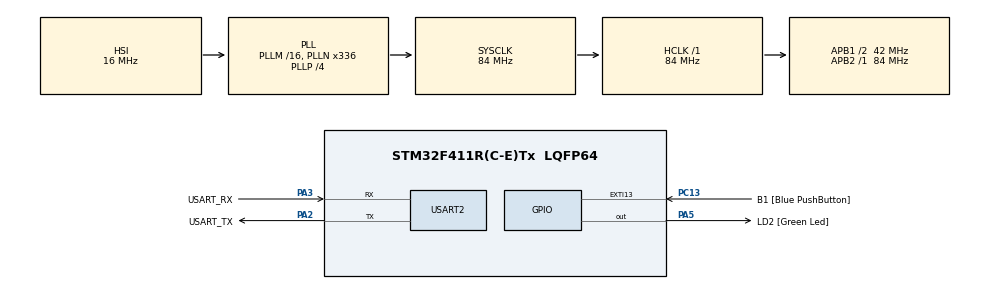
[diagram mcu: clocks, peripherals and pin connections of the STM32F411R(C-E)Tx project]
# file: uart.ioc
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Mcu.Family=STM32F4
Mcu.Name=STM32F411R(C-E)Tx
Mcu.Package=LQFP64
NVIC.PriorityGroup=NVIC_PRIORITYGROUP_0
NVIC.USART2_IRQn=true\:0\:0\:false\:false\:true\:true\:true\:true
PA13.GPIO_Label=TMS
PA13.Mode=Serial_Wire
PA13.Signal=SYS_JTMS-SWDIO
PA14.GPIO_Label=TCK
PA14.Mode=Serial_Wire
PA14.Signal=SYS_JTCK-SWCLK
PA2.GPIO_Label=USART_TX
PA2.Mode=Asynchronous
PA2.Signal=USART2_TX
PA3.GPIO_Label=USART_RX
PA3.Mode=Asynchronous
PA3.Signal=USART2_RX
PA5.GPIO_Label=LD2 [Green Led]
PA5.Signal=GPIO_Output
PB3.GPIO_Label=SWO
PB3.Signal=SYS_JTDO-SWO
PC13-ANTI_TAMP.GPIO_Label=B1 [Blue PushButton]
PC13-ANTI_TAMP.GPIO_ModeDefaultEXTI=GPIO_MODE_IT_FALLING
PC13-ANTI_TAMP.Signal=GPXTI13
PC14-OSC32_IN.Mode=LSE-External-Oscillator
PC14-OSC32_IN.Signal=RCC_OSC32_IN
PC15-OSC32_OUT.Mode=LSE-External-Oscillator
PC15-OSC32_OUT.Signal=RCC_OSC32_OUT
PH0\ -\ OSC_IN.Mode=HSE-External-Clock-Source
PH0\ -\ OSC_IN.Signal=RCC_OSC_IN
PH1\ -\ OSC_OUT.Mode=HSE-External-Clock-Source
PH1\ -\ OSC_OUT.Signal=RCC_OSC_OUT
ProjectManager.HeapSize=0x200
ProjectManager.StackSize=0x400
ProjectManager.TargetToolchain=STM32CubeIDE
RCC.48MHZClocksFreq_Value=84000000
RCC.AHBFreq_Value=84000000
RCC.APB1CLKDivider=RCC_HCLK_DIV2
RCC.APB1Freq_Value=42000000
RCC.APB1TimFreq_Value=84000000
RCC.APB2Freq_Value=84000000
RCC.APB2TimFreq_Value=84000000
RCC.CortexFreq_Value=84000000
RCC.FLatency-AdvancedSettings=FLASH_LATENCY_2
RCC.HCLKFreq_Value=84000000
RCC.HSE_VALUE=8000000
RCC.HSI_VALUE=16000000
RCC.PLLN=336
RCC.PLLP=RCC_PLLP_DIV4
RCC.SYSCLKFreq_VALUE=84000000
RCC.SYSCLKSource=RCC_SYSCLKSOURCE_PLLCLK
RCC.VCOOutputFreq_Value=336000000
USART2.VirtualMode=VM_ASYNC
board=NUCLEO-F411RE

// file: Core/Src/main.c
/* USER CODE BEGIN Header */
/**
  ******************************************************************************
  * @file           : main.c
  * @brief          : Main program body
  ******************************************************************************
  * @attention
  *
  * Copyright (c) 2024 STMicroelectronics.
  * All rights reserved.
  *
  * This software is licensed under terms that can be found in the LICENSE file
  * in the root directory of this software component.
  * If no LICENSE file comes with this software, it is provided AS-IS.
  *
  ******************************************************************************
  */
/* USER CODE END Header */
#include "main.h"

/* USER CODE BEGIN Includes */
#include <stdio.h>
#include <math.h>
/* USER CODE END Includes */

UART_HandleTypeDef huart2;

void SystemClock_Config(void);
static void MX_GPIO_Init(void);
static void MX_USART2_UART_Init(void);

/* USER CODE BEGIN 0 */
int _write(int file, char *p, int len){
	HAL_UART_Transmit(&huart2, p, len, 10);
	return len;
}
/* USER CODE END 0 */

int main(void)
{

  /* MCU Configuration--------------------------------------------------------*/

  /* Reset of all peripherals, Initializes the Flash interface and the Systick. */
  HAL_Init();

  /* Configure the system clock */
  SystemClock_Config();

  /* Initialize all configured peripherals */
  MX_GPIO_Init();
  MX_USART2_UART_Init();

  /* Infinite loop */
  /* USER CODE BEGIN WHILE */
  while (1)
  {
  	static int angle = 0;
  	angle += 1;
  	angle %= 360;
  	int16_t xValue = cos(angle * 3.14 / 180) * 32767;
  	int16_t yValue = sin(angle * 3.14 / 180) * 32767;

  	uint8_t txBuffer[6] = {0x11, 0x22, 0, 0, 0, 0};
  	txBuffer[2] = xValue >> 8;
  	txBuffer[3] = xValue & 0xff;
  	txBuffer[4] = yValue >> 8;
  	txBuffer[5] = yValue & 0xff;

  	HAL_UART_Transmit(&huart2, txBuffer, 6, 1);

  	HAL_Delay(10);
  }

    /* USER CODE END WHILE */

}

void SystemClock_Config(void)
{
  RCC_OscInitTypeDef RCC_OscInitStruct = {0};
  RCC_ClkInitTypeDef RCC_ClkInitStruct = {0};

  /** Configure the main internal regulator output voltage
  */
  __HAL_RCC_PWR_CLK_ENABLE();
  __HAL_PWR_VOLTAGESCALING_CONFIG(PWR_REGULATOR_VOLTAGE_SCALE1);

  /** Initializes the RCC Oscillators according to the specified parameters
  * in the RCC_OscInitTypeDef structure.
  */
  RCC_OscInitStruct.OscillatorType = RCC_OSCILLATORTYPE_HSI;
  RCC_OscInitStruct.HSIState = RCC_HSI_ON;
  RCC_OscInitStruct.HSICalibrationValue = RCC_HSICALIBRATION_DEFAULT;
  RCC_OscInitStruct.PLL.PLLState = RCC_PLL_ON;
  RCC_OscInitStruct.PLL.PLLSource = RCC_PLLSOURCE_HSI;
  RCC_OscInitStruct.PLL.PLLM = 16;
  RCC_OscInitStruct.PLL.PLLN = 336;
  RCC_OscInitStruct.PLL.PLLP = RCC_PLLP_DIV4;
  RCC_OscInitStruct.PLL.PLLQ = 4;
  if (HAL_RCC_OscConfig(&RCC_OscInitStruct) != HAL_OK)
  {
    Error_Handler();
  }

  /** Initializes the CPU, AHB and APB buses clocks
  */
  RCC_ClkInitStruct.ClockType = RCC_CLOCKTYPE_HCLK|RCC_CLOCKTYPE_SYSCLK
                              |RCC_CLOCKTYPE_PCLK1|RCC_CLOCKTYPE_PCLK2;
  RCC_ClkInitStruct.SYSCLKSource = RCC_SYSCLKSOURCE_PLLCLK;
  RCC_ClkInitStruct.AHBCLKDivider = RCC_SYSCLK_DIV1;
  RCC_ClkInitStruct.APB1CLKDivider = RCC_HCLK_DIV2;
  RCC_ClkInitStruct.APB2CLKDivider = RCC_HCLK_DIV1;

  if (HAL_RCC_ClockConfig(&RCC_ClkInitStruct, FLASH_LATENCY_2) != HAL_OK)
  {
    Error_Handler();
  }
}

static void MX_USART2_UART_Init(void)
{

  huart2.Instance = USART2;
  huart2.Init.BaudRate = 115200;
  huart2.Init.WordLength = UART_WORDLENGTH_8B;
  huart2.Init.StopBits = UART_STOPBITS_1;
  huart2.Init.Parity = UART_PARITY_NONE;
  huart2.Init.Mode = UART_MODE_TX_RX;
  huart2.Init.HwFlowCtl = UART_HWCONTROL_NONE;
  huart2.Init.OverSampling = UART_OVERSAMPLING_16;
  if (HAL_UART_Init(&huart2) != HAL_OK)
  {
    Error_Handler();
  }

}

static void MX_GPIO_Init(void)
{
  GPIO_InitTypeDef GPIO_InitStruct = {0};

  /* GPIO Ports Clock Enable */
  __HAL_RCC_GPIOC_CLK_ENABLE();
  __HAL_RCC_GPIOH_CLK_ENABLE();
  __HAL_RCC_GPIOA_CLK_ENABLE();
  __HAL_RCC_GPIOB_CLK_ENABLE();

  /*Configure GPIO pin Output Level */
  HAL_GPIO_WritePin(LD2_GPIO_Port, LD2_Pin, GPIO_PIN_RESET);

  /*Configure GPIO pin : B1_Pin */
  GPIO_InitStruct.Pin = B1_Pin;
  GPIO_InitStruct.Mode = GPIO_MODE_IT_FALLING;
  GPIO_InitStruct.Pull = GPIO_NOPULL;
  HAL_GPIO_Init(B1_GPIO_Port, &GPIO_InitStruct);

  /*Configure GPIO pin : LD2_Pin */
  GPIO_InitStruct.Pin = LD2_Pin;
  GPIO_InitStruct.Mode = GPIO_MODE_OUTPUT_PP;
  GPIO_InitStruct.Pull = GPIO_NOPULL;
  GPIO_InitStruct.Speed = GPIO_SPEED_FREQ_LOW;
  HAL_GPIO_Init(LD2_GPIO_Port, &GPIO_InitStruct);

}

void Error_Handler(void)
{
  __disable_irq();
  while (1)
  {
  }
}
